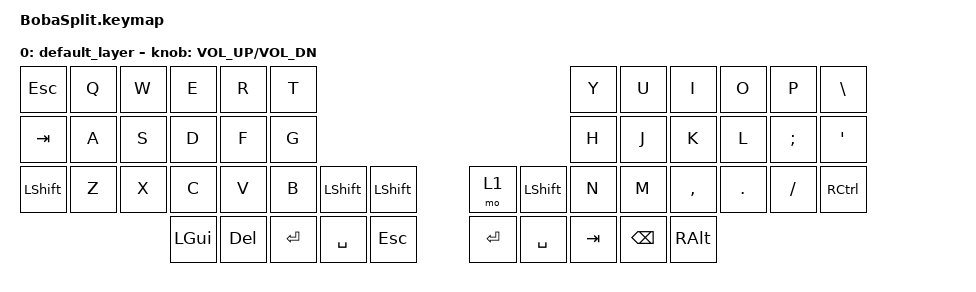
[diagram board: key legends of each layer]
/*
 * Copyright (c) 2022 The ZMK Contributors
 *
 * SPDX-License-Identifier: MIT
 */

#include <behaviors.dtsi>
#include <dt-bindings/zmk/bt.h>
#include <dt-bindings/zmk/keys.h>

/ {
	compatible = "zmk,keymap-sensors";

	&sensors {
		triggers-per-rotation = <20>;
	};
}

/ {
	compatible = "zmk,keymap";

	default_layer {
		// ---------------------------------------------------------------------------------------------------------------------------------
		// |  ESC  |  Q  |  W  |  E   |  R   |  T   |                                          |  Y   |  U    |  I    |  O   |   P   |   \  |
		// |  TAB  |  A  |  S  |  D   |  F   |  G   |                                          |  H   |  J    |  K    |  L   |   ;   |   '  |
		// | SHIFT |  Z  |  X  |  C   |  V   |  B   | L SHIFT | L SHIFT |  | LAYER 1 | L SHIFT |  N   |  M    |  ,    |  .   |   /   | CTRL |
		//                     | GUI  | DEL  | RET  |  SPACE  |   ESC   |  |   RET   |  SPACE  | TAB  | BSPC  | R-ALT |
		bindings = <
		&kp ESC   &kp Q &kp W &kp E &kp R &kp T                                                &kp Y &kp U  &kp I     &kp O   &kp P    &kp BSLH
		&kp TAB   &kp A &kp S &kp D &kp F &kp G                                                &kp H &kp J  &kp K     &kp L   &kp SEMI &kp SQT
		&kp LSHFT &kp Z &kp X &kp C &kp V &kp B &kp LSHFT &kp LSHFT        &mo 1    &kp LSHFT  &kp N &kp M  &kp COMMA &kp DOT &kp FSLH &kp RCTRL
		&kp LGUI &kp DEL &kp RET &kp SPACE &kp ESC        &kp RET  &kp SPACE  &kp TAB &kp BSPC &kp RALT
		>;

		sensor-bindings = <&inc_dec_kp C_VOL_UP C_VOL_DN>;
	};
}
